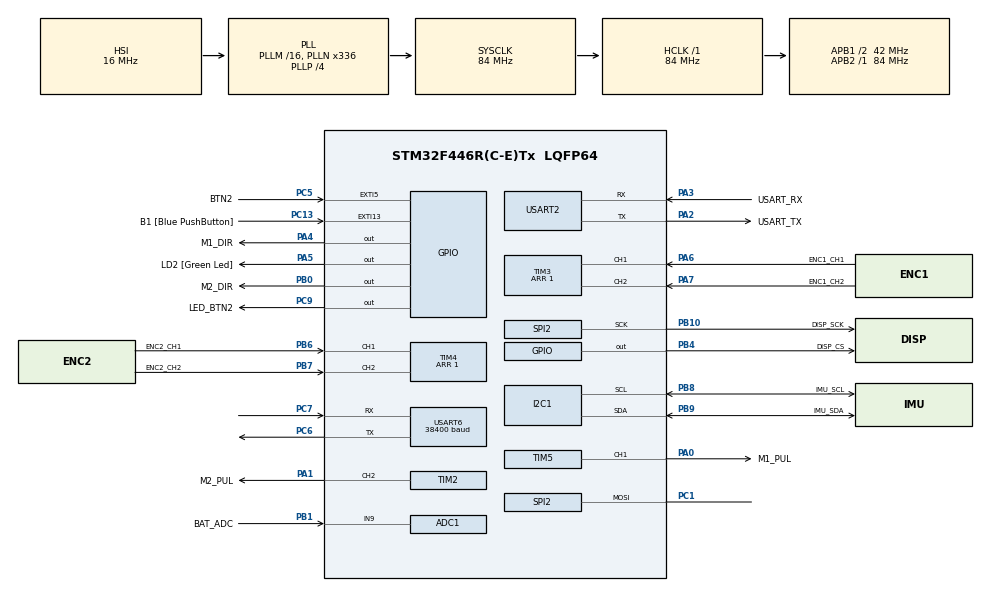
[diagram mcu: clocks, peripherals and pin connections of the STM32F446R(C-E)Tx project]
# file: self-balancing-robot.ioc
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ADC1.Channel-0\#ChannelRegularConversion=ADC_CHANNEL_9
ADC1.ClockPrescaler=ADC_CLOCK_SYNC_PCLK_DIV8
ADC1.NbrOfConversionFlag=1
ADC1.Rank-0\#ChannelRegularConversion=1
ADC1.SamplingTime-0\#ChannelRegularConversion=ADC_SAMPLETIME_3CYCLES
ADC1.master=1
Dma.I2C1_RX.0.Direction=DMA_PERIPH_TO_MEMORY
Dma.I2C1_RX.0.FIFOMode=DMA_FIFOMODE_DISABLE
Dma.I2C1_RX.0.Instance=DMA1_Stream0
Dma.I2C1_RX.0.MemDataAlignment=DMA_MDATAALIGN_BYTE
Dma.I2C1_RX.0.MemInc=DMA_MINC_ENABLE
Dma.I2C1_RX.0.Mode=DMA_NORMAL
Dma.I2C1_RX.0.PeriphDataAlignment=DMA_PDATAALIGN_BYTE
Dma.I2C1_RX.0.PeriphInc=DMA_PINC_DISABLE
Dma.I2C1_RX.0.Priority=DMA_PRIORITY_LOW
Dma.Request0=I2C1_RX
Dma.Request1=USART6_RX
Dma.USART6_RX.1.Direction=DMA_PERIPH_TO_MEMORY
Dma.USART6_RX.1.FIFOMode=DMA_FIFOMODE_DISABLE
Dma.USART6_RX.1.Instance=DMA2_Stream1
Dma.USART6_RX.1.MemDataAlignment=DMA_MDATAALIGN_BYTE
Dma.USART6_RX.1.MemInc=DMA_MINC_ENABLE
Dma.USART6_RX.1.Mode=DMA_CIRCULAR
Dma.USART6_RX.1.PeriphDataAlignment=DMA_PDATAALIGN_BYTE
Dma.USART6_RX.1.PeriphInc=DMA_PINC_DISABLE
Dma.USART6_RX.1.Priority=DMA_PRIORITY_LOW
Mcu.Family=STM32F4
Mcu.Name=STM32F446R(C-E)Tx
Mcu.Package=LQFP64
NVIC.ADC_IRQn=true\:0\:0\:false\:false\:true\:true\:true\:true
NVIC.DMA1_Stream0_IRQn=true\:0\:0\:false\:false\:true\:false\:true\:true
NVIC.DMA2_Stream1_IRQn=true\:0\:0\:false\:false\:true\:false\:true\:true
NVIC.EXTI9_5_IRQn=true\:0\:0\:false\:false\:true\:true\:true\:true
NVIC.PriorityGroup=NVIC_PRIORITYGROUP_0
NVIC.TIM1_UP_TIM10_IRQn=true\:0\:0\:false\:false\:true\:true\:true\:true
NVIC.TIM3_IRQn=true\:0\:0\:false\:false\:true\:true\:true\:true
NVIC.TIM4_IRQn=true\:0\:0\:false\:false\:true\:true\:true\:true
NVIC.TIM6_DAC_IRQn=true\:0\:0\:false\:false\:true\:true\:true\:true
NVIC.TIM7_IRQn=true\:0\:0\:false\:false\:true\:true\:true\:true
NVIC.USART6_IRQn=true\:0\:0\:false\:false\:true\:true\:true\:true
PA0-WKUP.GPIO_Label=M1_PUL
PA0-WKUP.Signal=S_TIM5_CH1
PA1.GPIO_Label=M2_PUL
PA1.Signal=S_TIM2_CH2
PA13.GPIO_Label=TMS
PA13.Mode=Serial_Wire
PA13.Signal=SYS_JTMS-SWDIO
PA14.GPIO_Label=TCK
PA14.Mode=Serial_Wire
PA14.Signal=SYS_JTCK-SWCLK
PA2.GPIO_Label=USART_TX
PA2.Mode=Asynchronous
PA2.Signal=USART2_TX
PA3.GPIO_Label=USART_RX
PA3.Mode=Asynchronous
PA3.Signal=USART2_RX
PA4.GPIO_Label=M1_DIR
PA4.Signal=GPIO_Output
PA5.GPIO_Label=LD2 [Green Led]
PA5.Signal=GPIO_Output
PA6.GPIO_Label=ENC1_CH1
PA6.Signal=S_TIM3_CH1
PA7.GPIO_Label=ENC1_CH2
PA7.Signal=S_TIM3_CH2
PB0.GPIO_Label=M2_DIR
PB0.Signal=GPIO_Output
PB1.GPIO_Label=BAT_ADC
PB1.Signal=ADCx_IN9
PB10.GPIO_Label=DISP_SCK
PB10.Mode=Simplex_Bidirectional_Master
PB10.Signal=SPI2_SCK
PB3.GPIO_Label=SWO
PB3.Signal=SYS_JTDO-SWO
PB4.GPIO_Label=DISP_CS
PB4.GPIO_Speed=GPIO_SPEED_FREQ_VERY_HIGH
PB4.PinState=GPIO_PIN_RESET
PB4.Signal=GPIO_Output
PB6.GPIO_Label=ENC2_CH1
PB6.Signal=S_TIM4_CH1
PB7.GPIO_Label=ENC2_CH2
PB7.Signal=S_TIM4_CH2
PB8.GPIO_Label=IMU_SCL
PB8.Mode=I2C
PB8.Signal=I2C1_SCL
PB9.GPIO_Label=IMU_SDA
PB9.Mode=I2C
PB9.Signal=I2C1_SDA
PC1.Mode=Simplex_Bidirectional_Master
PC1.Signal=SPI2_MOSI
PC13.GPIO_Label=B1 [Blue PushButton]
PC13.GPIO_ModeDefaultEXTI=GPIO_MODE_IT_FALLING
PC13.Signal=GPXTI13
PC14-OSC32_IN.Mode=LSE-External-Oscillator
PC14-OSC32_IN.Signal=RCC_OSC32_IN
PC15-OSC32_OUT.Mode=LSE-External-Oscillator
PC15-OSC32_OUT.Signal=RCC_OSC32_OUT
PC5.GPIO_Label=BTN2
PC5.GPIO_ModeDefaultEXTI=GPIO_MODE_IT_FALLING
PC5.GPIO_PuPd=GPIO_PULLUP
PC5.Signal=GPXTI5
PC6.Mode=Asynchronous
PC6.Signal=USART6_TX
PC7.Mode=Asynchronous
PC7.Signal=USART6_RX
PC9.GPIO_Label=LED_BTN2
PC9.Signal=GPIO_Output
PH0-OSC_IN.Mode=HSE-External-Oscillator
PH0-OSC_IN.Signal=RCC_OSC_IN
PH1-OSC_OUT.Mode=HSE-External-Oscillator
PH1-OSC_OUT.Signal=RCC_OSC_OUT
ProjectManager.HeapSize=0x200
ProjectManager.StackSize=0x400
ProjectManager.TargetToolchain=STM32CubeIDE
RCC.48MHZClocksFreq_Value=84000000
RCC.AHBFreq_Value=84000000
RCC.APB1CLKDivider=RCC_HCLK_DIV2
RCC.APB1Freq_Value=42000000
RCC.APB1TimFreq_Value=84000000
RCC.APB2Freq_Value=84000000
RCC.APB2TimFreq_Value=84000000
RCC.CortexFreq_Value=84000000
RCC.FLatency-AdvancedSettings=FLASH_LATENCY_2
RCC.HCLKFreq_Value=84000000
RCC.HSE_VALUE=8000000
RCC.HSI_VALUE=16000000
RCC.PLLN=336
RCC.PLLP=RCC_PLLP_DIV4
RCC.SYSCLKFreq_VALUE=84000000
RCC.SYSCLKSource=RCC_SYSCLKSOURCE_PLLCLK
RCC.USBFreq_Value=168000000
RCC.VCOOutputFreq_Value=336000000
SH.ADCx_IN9.0=ADC1_IN9,IN9
SH.S_TIM2_CH2.0=TIM2_CH2,PWM Generation2 CH2
SH.S_TIM3_CH1.0=TIM3_CH1,Encoder_Interface
SH.S_TIM3_CH2.0=TIM3_CH2,Encoder_Interface
SH.S_TIM4_CH1.0=TIM4_CH1,Encoder_Interface
SH.S_TIM4_CH2.0=TIM4_CH2,Encoder_Interface
SH.S_TIM5_CH1.0=TIM5_CH1,PWM Generation1 CH1
SPI2.CalculateBaudRate=21.0 MBits/s
SPI2.Direction=SPI_DIRECTION_1LINE
SPI2.Mode=SPI_MODE_MASTER
SPI2.VirtualType=VM_MASTER
TIM1.Period=65535
TIM1.Prescaler=83
TIM1.TIM_MasterOutputTrigger=TIM_TRGO_UPDATE
TIM1.TIM_MasterSlaveMode=TIM_MASTERSLAVEMODE_ENABLE
TIM10.Period=2
TIM10.Prescaler=55999
TIM2.Channel-PWM\ Generation2\ CH2=TIM_CHANNEL_2
TIM3.Channel-Output\ Compare3\ No\ Output=TIM_CHANNEL_3
TIM3.EncoderMode=TIM_ENCODERMODE_TI12
TIM3.OCMode_3=TIM_OCMODE_ACTIVE
TIM3.Period=1
TIM4.Channel-Output\ Compare3\ No\ Output=TIM_CHANNEL_3
TIM4.EncoderMode=TIM_ENCODERMODE_TI12
TIM4.OCMode_3=TIM_OCMODE_ACTIVE
TIM4.Period=1
TIM5.Channel-PWM\ Generation1\ CH1=TIM_CHANNEL_1
TIM6.Period=139
TIM6.Prescaler=59999
TIM7.Period=13
TIM7.Prescaler=59999
USART2.VirtualMode=VM_ASYNC
USART6.BaudRate=38400
USART6.Mode=MODE_RX
USART6.VirtualMode=VM_ASYNC
VP_TIM10_VS_ClockSourceINT.Mode=Enable_Timer
VP_TIM1_VS_ClockSourceINT.Mode=Internal
VP_TIM3_VS_no_output3.Mode=Output Compare3 No Output
VP_TIM4_VS_no_output3.Mode=Output Compare3 No Output
VP_TIM6_VS_ClockSourceINT.Mode=Enable_Timer
VP_TIM7_VS_ClockSourceINT.Mode=Enable_Timer
VP_TIM8_VS_ClockSourceITR.Mode=TriggerSource_ITR0
VP_TIM8_VS_ControllerModeClock.Mode=Clock Mode
board=NUCLEO-F446RE

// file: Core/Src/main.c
/* USER CODE BEGIN Header */
/**
  ******************************************************************************
  * @file           : main.c
  * @brief          : Main program body
  ******************************************************************************
  * @attention
  *
  * Copyright (c) 2025 STMicroelectronics.
  * All rights reserved.
  *
  * This software is licensed under terms that can be found in the LICENSE file
  * in the root directory of this software component.
  * If no LICENSE file comes with this software, it is provided AS-IS.
  *
  ******************************************************************************
  */
/* USER CODE END Header */
#include "main.h"
#include "adc.h"
#include "dma.h"
#include "i2c.h"
#include "spi.h"
#include "tim.h"
#include "usart.h"
#include "gpio.h"

/* USER CODE BEGIN Includes */
#include <stdio.h>
#include <stdlib.h>
#include <math.h>
#include <string.h>
#include "stm32f4xx.h"
#include "headers/robot.h"
/* USER CODE END Includes */

/* USER CODE BEGIN PV */
static uint8_t tim6_update_cnt = 0; // Counter incremented every 100ms by TIM6 interrupt
static uint8_t IMU_Rx_Cplt = 0; // Flag to indicate that IMU data has been received
static uint8_t ADC_Rx_Cplt = 0; // Flag to indicate that ADC data has been received

static char js_buffer[15]; // Buffer to store joystick message (14 chars + null terminator)
static uint8_t js_msg_ready = 0; // Flag to indicate that a complete joystick message is ready
uint8_t printerror = 0;
robot_t robot;

/* USER CODE END PV */

void SystemClock_Config(void);

/* USER CODE BEGIN 0 */
// static void transmit_IMU_data(){
// 	  char msg[80];
// 	  static uint8_t calibration_step_shown = 0;
// 	  switch (imu.calibration_mode) {
// 		  case 1: // Calibration mode
// 	//	    			  MAX72_Print_String("Pitch forward", NO_SETTINGS);
// 			  snprintf(msg, sizeof(msg), "Pitch forward\n");
// 			break;
// 		  case 2: // Calibration mode
// 			  //	    			  MAX72_Print_String("Pitch backward", NO_SETTINGS);
// 			  snprintf(msg, sizeof(msg), "Pitch backward\n");
// 			break;
// 	  }
// 	  if (calibration_step_shown < imu.calibration_mode) {
// 		  HAL_UART_Transmit(&huart2, (uint8_t*)msg, strlen(msg), HAL_MAX_DELAY);
// 		  calibration_step_shown = imu.calibration_mode; // Update the last shown step
// 	  }

// 	  // print az imu
// 	  if (imu.calibration_mode){
// 		  snprintf(msg, sizeof(msg), "Az: %.3f	Bias: %.3f	ax: %.3f	wy: %.3f\n", imu.az, imu.az_bias,imu.ax,imu.wy);
// 	  } else {
// 		  snprintf(msg, sizeof(msg), "Deg: %.3f ° - wy: %.3f - ax: %.3f - az: %.3f - az_bias: %.3f\n", imu.angle, imu.wy, imu.ax,imu.az,imu.az_bias);
// 	  }

// 	  HAL_UART_Transmit(&huart2, (uint8_t*)msg, strlen(msg), HAL_MAX_DELAY);
// }

// static void show_calibration_messages(){
// 		  static uint8_t calibration_step_shown = 0;
// 		  static char msg[20];
// 		  switch (imu.calibration_mode) {
// 			  case 1: // Calibration mode
// 		//	    			  MAX72_Print_String("Pitch forward", NO_SETTINGS);
// 				  snprintf(msg, sizeof(msg), "Pitch forward\n");
// 				break;
// 			  case 2: // Calibration mode
// 				  //	    			  MAX72_Print_String("Pitch backward", NO_SETTINGS);
// 				  snprintf(msg, sizeof(msg), "Pitch backward\n");
// 				break;
// 		  }
// 		  if (calibration_step_shown < imu.calibration_mode) {
// 			  MAX72_Stop_Changing_Data(&display, 1);
// 			  MAX72_Scroll_Start_IT(msg);
// 			  calibration_step_shown = imu.calibration_mode; // Update the last shown step
// 		  } else if (calibration_step_shown>imu.calibration_mode) {
// 			  // Reset the calibration step shown when calibration is complete
// 			  calibration_step_shown = 0;
// 			  MAX72_Resume_Changing_Data(&display,1);
// 		  }
// }
/* USER CODE END 0 */

int main(void)
{

  /* MCU Configuration--------------------------------------------------------*/

  /* Reset of all peripherals, Initializes the Flash interface and the Systick. */
  HAL_Init();

  /* Configure the system clock */
  SystemClock_Config();

  /* Initialize all configured peripherals */
  MX_GPIO_Init();
  MX_DMA_Init();
  MX_USART2_UART_Init();
  MX_TIM4_Init();
  MX_TIM6_Init();
  MX_SPI2_Init();
  MX_TIM2_Init();
  MX_TIM7_Init();
  MX_TIM3_Init();
  MX_TIM5_Init();
  MX_ADC1_Init();
  MX_I2C1_Init();
  MX_TIM10_Init();
  MX_USART6_UART_Init();
  MX_TIM1_Init();
  MX_TIM8_Init();
  /* USER CODE BEGIN 2 */

  HAL_NVIC_EnableIRQ(TIM1_UP_TIM10_IRQn);
  HAL_NVIC_EnableIRQ(TIM3_IRQn);
  HAL_NVIC_EnableIRQ(TIM4_IRQn);
  HAL_NVIC_EnableIRQ(TIM6_DAC_IRQn);
  HAL_NVIC_EnableIRQ(TIM7_IRQn);
  HAL_NVIC_EnableIRQ(DMA1_Stream0_IRQn);
  HAL_NVIC_EnableIRQ(DMA2_Stream1_IRQn);
  HAL_NVIC_EnableIRQ(ADC_IRQn);
  HAL_NVIC_EnableIRQ(EXTI9_5_IRQn);
  HAL_NVIC_EnableIRQ(USART6_IRQn);

  HAL_NVIC_SetPriorityGrouping(NVIC_PRIORITYGROUP_2); // 2 bits for pre-emption priority, 2 bits for subpriority

  HAL_NVIC_SetPriority(TIM1_UP_TIM10_IRQn, 0, 1);     // Higher priority for encoder time stamping
  HAL_NVIC_SetPriority(TIM3_IRQn, 0, 1);              // Higher priority for encoder data reading
  HAL_NVIC_SetPriority(TIM4_IRQn, 0, 1);              // Higher priority for encoder data reading
  HAL_NVIC_SetPriority(TIM6_DAC_IRQn, 2, 1);          // Low priority for periodic tasks
  HAL_NVIC_SetPriority(TIM7_IRQn, 1, 0);              // High priority for system control
  HAL_NVIC_SetPriority(DMA1_Stream0_IRQn, 1, 1);      // High priority for I2C (IMU) RX complete
  HAL_NVIC_SetPriority(DMA2_Stream1_IRQn, 2, 0);      // Low priority for UART (joystick) RX complete
  HAL_NVIC_SetPriority(ADC_IRQn, 3, 0);               // Lower priority for ADC (Power module) RX complete
  HAL_NVIC_SetPriority(EXTI9_5_IRQn, 0, 0);           // Higher priority for control button press
  HAL_NVIC_SetPriority(USART6_IRQn, 2, 0);            // Low priority for UART (joystick) RX and TX

  /* USER CODE END 2 */

  /* Infinite loop */
  /* USER CODE BEGIN WHILE */
  HAL_Delay(50);
  Robot_Init(&robot);

//  char str[] = "SBRobot";
//  display_data_t data = {str, PRINT_SCROLL, NO_SETTINGS, DISPLAY_TYPE_STRING, 0};
//  MAX72_Add_Data(&display, &data);

//  display_data_t data2 = {&encoder_r.speed, PRINT_FLOAT, MINIDIGITS, DISPLAY_TYPE_FLOAT, 3};
//  MAX72_Add_Data(&display, &data2);

  display_data_t data3 = {&imu.angle, PRINT_FLOAT, FLOAT, DISPLAY_TYPE_FLOAT, 2};
  MAX72_AddData(&display, &data3);

//  display_data_t data4 = {&power_module.voltage, PRINT_FLOAT, NO_SETTINGS, DISPLAY_TYPE_FLOAT, 2};
//  MAX72_Add_Data(&display, &data4);

  HAL_UART_Receive_DMA(&huart6, (uint8_t*)js_buffer, 14);

  while (1)
  {
    /* USER CODE END WHILE */

    /* USER CODE BEGIN 3 */
	  if (IMU_Rx_Cplt) {
		  IMU_Rx_Cplt = 0; // Reset flag
		  IMU_ComputeData(&imu); // Process received data
	  }

	  if (printerror == 1) {
		  printerror = 0;
	  }

    if (ADC_Rx_Cplt) {
      ADC_Rx_Cplt = 0; // Reset flag
      PowerModule_UpdateData(&power_module);
    }

	  if (js_msg_ready) {
		  js_msg_ready = 0; // Reset flag

//		  if (huart6.ErrorCode != HAL_UART_ERROR_NONE) {
//		      uint32_t err = huart6.ErrorCode;
//
//		      if (err & HAL_UART_ERROR_PE)  printf("UART ERROR: Parity\n");
//		      if (err & HAL_UART_ERROR_NE)  printf("UART ERROR: Noise\n");
//		      if (err & HAL_UART_ERROR_FE)  printf("UART ERROR: Framing\n");
//		      if (err & HAL_UART_ERROR_ORE) printf("UART ERROR: Overrun\n");
//
//		      // Pulisci i flag
//		      __HAL_UART_CLEAR_PEFLAG(&huart6);
//		      __HAL_UART_CLEAR_FEFLAG(&huart6);
//		      __HAL_UART_CLEAR_NEFLAG(&huart6);
//		      __HAL_UART_CLEAR_OREFLAG(&huart6);
//
//		      // Azzeriamo anche ErrorCode nella struct
//		      huart6.ErrorCode = HAL_UART_ERROR_NONE;
//		  }
		     Controller_ReadSerialMsg(&controller, js_buffer);
	  }

	  static uint8_t last_cnt = 255;
	  if (last_cnt != tim6_update_cnt) { // Update every 100ms
	      last_cnt = tim6_update_cnt;

	      //TODO Activate
//	      PowerModule_ReadData(&power_module);

	      MAX72_UpdateData(&display);
	      if (tim6_update_cnt % 5 == 0) { // Update every 500ms
	    	  // Display refresh data

	    	  // Send IMU data via UART for debugging
//	    	  transmit_IMU_data();
//			  show_calibration_messages();

	    	  if (tim6_update_cnt % 10 == 0) { // Every 1 second
	    		  MAX72_ChangeData(&display,0);
	    	  }
	      }

	      MAX72_ScrollProcess(); // Process scrolling text
	  }
  }
  /* USER CODE END 3 */
}

void SystemClock_Config(void)
{
  RCC_OscInitTypeDef RCC_OscInitStruct = {0};
  RCC_ClkInitTypeDef RCC_ClkInitStruct = {0};

  /** Configure the main internal regulator output voltage
  */
  __HAL_RCC_PWR_CLK_ENABLE();
  __HAL_PWR_VOLTAGESCALING_CONFIG(PWR_REGULATOR_VOLTAGE_SCALE3);

  /** Initializes the RCC Oscillators according to the specified parameters
  * in the RCC_OscInitTypeDef structure.
  */
  RCC_OscInitStruct.OscillatorType = RCC_OSCILLATORTYPE_HSI;
  RCC_OscInitStruct.HSIState = RCC_HSI_ON;
  RCC_OscInitStruct.HSICalibrationValue = RCC_HSICALIBRATION_DEFAULT;
  RCC_OscInitStruct.PLL.PLLState = RCC_PLL_ON;
  RCC_OscInitStruct.PLL.PLLSource = RCC_PLLSOURCE_HSI;
  RCC_OscInitStruct.PLL.PLLM = 16;
  RCC_OscInitStruct.PLL.PLLN = 336;
  RCC_OscInitStruct.PLL.PLLP = RCC_PLLP_DIV4;
  RCC_OscInitStruct.PLL.PLLQ = 2;
  RCC_OscInitStruct.PLL.PLLR = 2;
  if (HAL_RCC_OscConfig(&RCC_OscInitStruct) != HAL_OK)
  {
    Error_Handler();
  }

  /** Initializes the CPU, AHB and APB buses clocks
  */
  RCC_ClkInitStruct.ClockType = RCC_CLOCKTYPE_HCLK|RCC_CLOCKTYPE_SYSCLK
                              |RCC_CLOCKTYPE_PCLK1|RCC_CLOCKTYPE_PCLK2;
  RCC_ClkInitStruct.SYSCLKSource = RCC_SYSCLKSOURCE_PLLCLK;
  RCC_ClkInitStruct.AHBCLKDivider = RCC_SYSCLK_DIV1;
  RCC_ClkInitStruct.APB1CLKDivider = RCC_HCLK_DIV2;
  RCC_ClkInitStruct.APB2CLKDivider = RCC_HCLK_DIV1;

  if (HAL_RCC_ClockConfig(&RCC_ClkInitStruct, FLASH_LATENCY_2) != HAL_OK)
  {
    Error_Handler();
  }
}

/* USER CODE BEGIN 4 */
void HAL_TIM_PeriodElapsedCallback(TIM_HandleTypeDef *htim){
	if (htim->Instance == TIM6){
		tim6_update_cnt++;
		if (tim6_update_cnt == 250){
			tim6_update_cnt = 0;
		}
	} else if (htim->Instance == TIM7) {
		if (controller.active){
		  Controller_Update(&controller);
		  printerror = 1;
		}
		Stepper_SpeedControl(&stepper_r);
		Stepper_SpeedControl(&stepper_l);
	} else if (htim->Instance == TIM10){
		// Read from IMU
		IMU_ReadData(&imu);
	}
}

void HAL_TIM_OC_DelayElapsedCallback(TIM_HandleTypeDef *htim)
{
  if (htim->Instance == TIM3 && htim->Channel == HAL_TIM_ACTIVE_CHANNEL_3) {
    Encoder_Event(&encoder_l);
    __HAL_TIM_SET_COMPARE(htim, TIM_CHANNEL_3, !htim->Instance->CCR3);  // per ogni tick
  } else if (htim->Instance == TIM4 && htim->Channel == HAL_TIM_ACTIVE_CHANNEL_3) {
    Encoder_Event(&encoder_r);
		__HAL_TIM_SET_COMPARE(htim, TIM_CHANNEL_3, !htim->Instance->CCR3);  // per ogni tick
	}
}

void HAL_GPIO_EXTI_Callback(uint16_t GPIO_Pin)
{
  if(GPIO_Pin == GPIO_PIN_5) {
   Button_OnClick();
  }
}

void HAL_I2C_MemRxCpltCallback(I2C_HandleTypeDef *hi2c) {
	if (hi2c == imu.hi2c) {
		// Data received from IMU, process it
		IMU_Rx_Cplt = 1; // Set flag to indicate data is ready
	}
}

void HAL_ADC_ConvCpltCallback(ADC_HandleTypeDef* hadc) {
  if (hadc == power_module.hadc) {
      ADC_Rx_Cplt = 1; // Set flag to indicate ADC data is ready
      HAL_ADC_Stop_IT(hadc); // Stop ADC to prevent further interrupts until re-started
  }
}

void HAL_UART_RxCpltCallback(UART_HandleTypeDef *huart) {
	if (huart->Instance == USART6) {

			js_buffer[14] = '\0';     // chiudi stringa
			js_msg_ready = 1;         // segnala che il messaggio è pronto
	}
}

int __io_putchar(int ch){
	ITM_SendChar(ch);
	return ch;
}

/* USER CODE END 4 */

void Error_Handler(void)
{
  __disable_irq();
  while (1)
  {
  }
}
